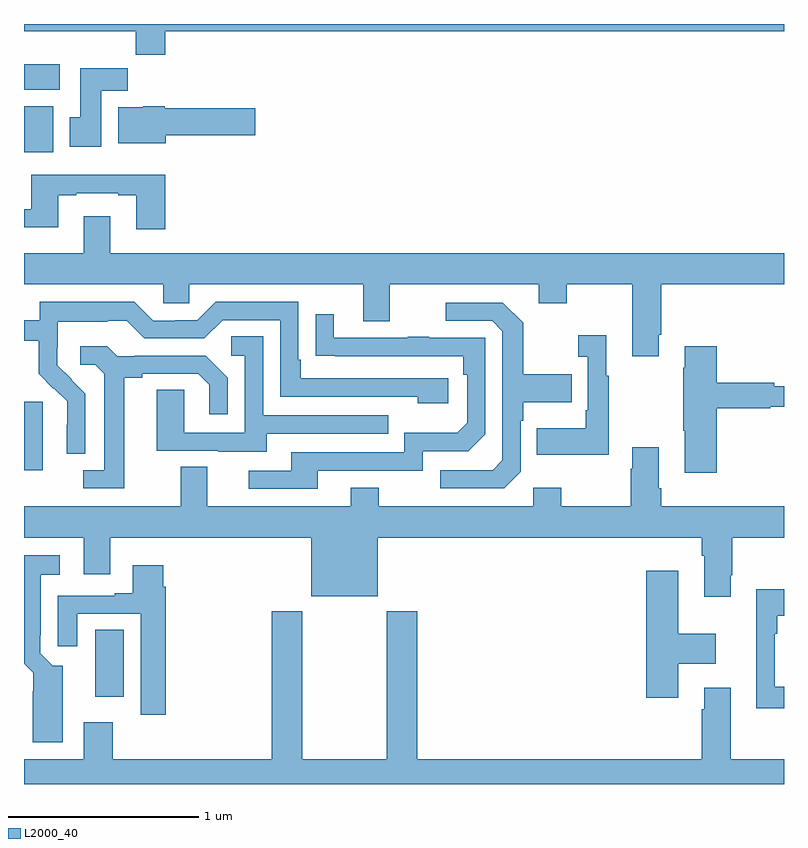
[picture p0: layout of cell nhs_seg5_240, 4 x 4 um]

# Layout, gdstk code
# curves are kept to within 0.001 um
import gdstk
lib = gdstk.Library(unit=1e-6, precision=1e-09)
def R(c, l, rs):  # rectangles x0, y0, x1, y1
    for r in rs: c.add(gdstk.rectangle(r[:2], r[2:], *l))
def P(c, l, *ps):  # polygons
    for p in ps: c.add(gdstk.Polygon(p, *l))
L2000_40 = (2000, 40)

nhs_seg5_240 = lib.new_cell('nhs_seg5_240')
R(nhs_seg5_240, L2000_40, [(125.375,853.257,125.524,853.61), (125,854.45,125.098,854.811), (125,856.124,125.155,856.366), (125,856.454,125.188,856.588)])
P(nhs_seg5_240, L2000_40, [(125,856.76),(125.587,856.76),(125.587,856.636),(125.744,856.636),(125.744,856.76),(129,856.76),(129,856.799),(125,856.799)],
  [(125.407,856.448),(125.546,856.448),(125.546,856.567),(125.297,856.567),(125.297,856.308),(125.24,856.308),(125.24,856.152),(125.407,856.152)],
  [(125.746,856.214),(126.217,856.214),(126.217,856.356),(125.742,856.356),(125.742,856.366),(125.628,856.366),(125.628,856.36),(125.495,856.36),(125.495,856.172),(125.746,856.172)],
  [(125.744,856.006),(125.039,856.006),(125.039,855.825),(125,855.825),(125,855.728),(125.179,855.728),(125.179,855.897),(125.275,855.897),(125.275,855.909),(125.495,855.909),(125.495,855.897),(125.591,855.897),(125.591,855.72),(125.744,855.72)],
  [(128.341,855.163),(128.354,855.163),(128.354,855.428),(129,855.428),(129,855.592),(125.455,855.592),(125.455,855.787),(125.315,855.787),(125.315,855.592),(125,855.592),(125,855.428),(125.733,855.428),(125.733,855.33),(125.871,855.33),(125.871,855.428),(126.785,855.428),(126.785,855.234),(126.925,855.234),(126.925,855.428),(127.709,855.428),(127.709,855.329),(127.857,855.329),(127.857,855.428),(128.201,855.428),(128.201,855.051),(128.341,855.051)],
  [(125.322,854.854),(125.176,855.002),(125.176,855.099),(125.178,855.099),(125.178,855.233),(125.441,855.233),(125.441,855.237),(125.541,855.237),(125.634,855.144),(125.949,855.144),(126.045,855.24),(126.348,855.24),(126.348,854.838),(127.073,854.838),(127.073,854.804),(127.234,854.804),(127.234,854.934),(126.457,854.934),(126.457,855.031),(126.444,855.031),(126.444,855.336),(126.009,855.336),(125.913,855.24),(125.795,855.24),(125.795,855.237),(125.679,855.237),(125.579,855.337),(125.082,855.337),(125.082,855.24),(125,855.24),(125,855.132),(125.077,855.132),(125.077,854.957),(125.154,854.88),(125.157,854.883),(125.228,854.813),(125.228,854.69),(125.226,854.69),(125.226,854.536),(125.322,854.536)],
  [(127.614,854.442),(127.614,854.711),(127.627,854.711),(127.627,854.807),(127.883,854.807),(127.883,854.955),(127.627,854.955),(127.627,855.227),(127.521,855.333),(127.221,855.333),(127.221,855.237),(127.464,855.237),(127.518,855.183),(127.518,854.502),(127.467,854.451),(127.191,854.451),(127.191,854.355),(127.527,854.355)],
  [(126.547,854.448),(127.098,854.448),(127.098,854.55),(127.338,854.55),(127.428,854.64),(127.428,855.147),(127.133,855.147),(127.133,855.152),(127.021,855.152),(127.021,855.147),(126.631,855.147),(126.631,855.271),(126.535,855.271),(126.535,855.052),(127.312,855.051),(127.312,854.954),(127.332,854.954),(127.332,854.7),(127.279,854.647),(127.002,854.647),(127.002,854.544),(126.407,854.544),(126.407,854.448),(126.183,854.448),(126.183,854.352),(126.547,854.352)],
  [(128.077,854.947),(128.065,854.947),(128.065,855.16),(127.917,855.16),(127.917,855.047),(127.968,855.047),(127.968,854.767),(127.956,854.767),(127.956,854.671),(127.699,854.671),(127.699,854.531),(128.077,854.531)],
  [(126.277,854.643),(126.917,854.643),(126.917,854.739),(126.258,854.739),(126.258,855.155),(126.09,855.155),(126.09,855.054),(126.162,855.054),(126.162,854.649),(125.844,854.649),(125.844,854.873),(125.699,854.873),(125.699,854.553),(126.023,854.553),(126.023,854.549),(126.277,854.549)],
  [(128.645,854.776),(128.928,854.776),(128.928,854.784),(129,854.784),(129,854.893),(128.948,854.893),(128.948,854.912),(128.645,854.912),(128.645,855.103),(128.477,855.103),(128.477,854.99),(128.47,854.99),(128.47,854.659),(128.477,854.659),(128.477,854.436),(128.645,854.436)],
  [(125.527,854.936),(125.623,854.936),(125.623,854.958),(125.918,854.958),(125.975,854.901),(125.975,854.745),(126.072,854.745),(126.072,854.938),(125.956,855.054),(125.584,855.054),(125.584,855.051),(125.49,855.051),(125.438,855.103),(125.295,855.103),(125.295,855.006),(125.376,855.006),(125.423,854.959),(125.423,854.451),(125.313,854.451),(125.313,854.355),(125.527,854.355)],
  [(128.719,853.897),(128.727,853.897),(128.727,854.096),(129,854.096),(129,854.26),(128.354,854.26),(128.354,854.356),(128.341,854.356),(128.341,854.572),(128.201,854.572),(128.201,854.459),(128.194,854.459),(128.194,854.26),(127.827,854.26),(127.827,854.359),(127.68,854.359),(127.68,854.26),(126.867,854.26),(126.867,854.359),(126.719,854.359),(126.719,854.26),(125.965,854.26),(125.965,854.468),(125.825,854.468),(125.825,854.26),(125,854.26),(125,854.096),(125.315,854.096),(125.315,853.902),(125.455,853.902),(125.455,854.096),(126.512,854.096),(126.512,853.787),(126.862,853.787),(126.862,854.096),(128.567,854.096),(128.567,854),(128.579,854),(128.579,853.785),(128.719,853.785)],
  [(125.203,853.422),(125.151,853.422),(125.085,853.488),(125.085,853.582),(125.089,853.582),(125.089,853.901),(125.188,853.901),(125.188,854.002),(125,854.002),(125,853.433),(125.049,853.384),(125.049,853.286),(125.045,853.286),(125.045,853.019),(125.203,853.019)],
  [(125.747,853.838),(125.734,853.838),(125.734,853.951),(125.573,853.951),(125.573,853.804),(125.477,853.804),(125.477,853.791),(125.177,853.791),(125.177,853.524),(125.281,853.524),(125.281,853.695),(125.615,853.695),(125.615,853.164),(125.747,853.164)],
  [(128.443,853.433),(128.641,853.433),(128.641,853.591),(128.443,853.591),(128.443,853.921),(128.276,853.921),(128.276,853.254),(128.443,853.254)],
  [(129,853.31),(128.952,853.31),(128.952,853.589),(128.965,853.589),(128.965,853.685),(129,853.685),(129,853.825),(128.855,853.825),(128.855,853.197),(129,853.197)],
  [(129,852.928),(128.719,852.928),(128.719,853.306),(128.579,853.306),(128.579,853.193),(128.567,853.193),(128.567,852.928),(127.07,852.928),(127.07,853.708),(126.91,853.708),(126.91,852.928),(126.465,852.928),(126.465,853.708),(126.305,853.708),(126.305,852.928),(125.468,852.928),(125.468,853.123),(125.315,853.123),(125.315,852.928),(125,852.928),(125,852.799),(129,852.799)])

lib.write_gds('nhs_seg5_240.gds')
